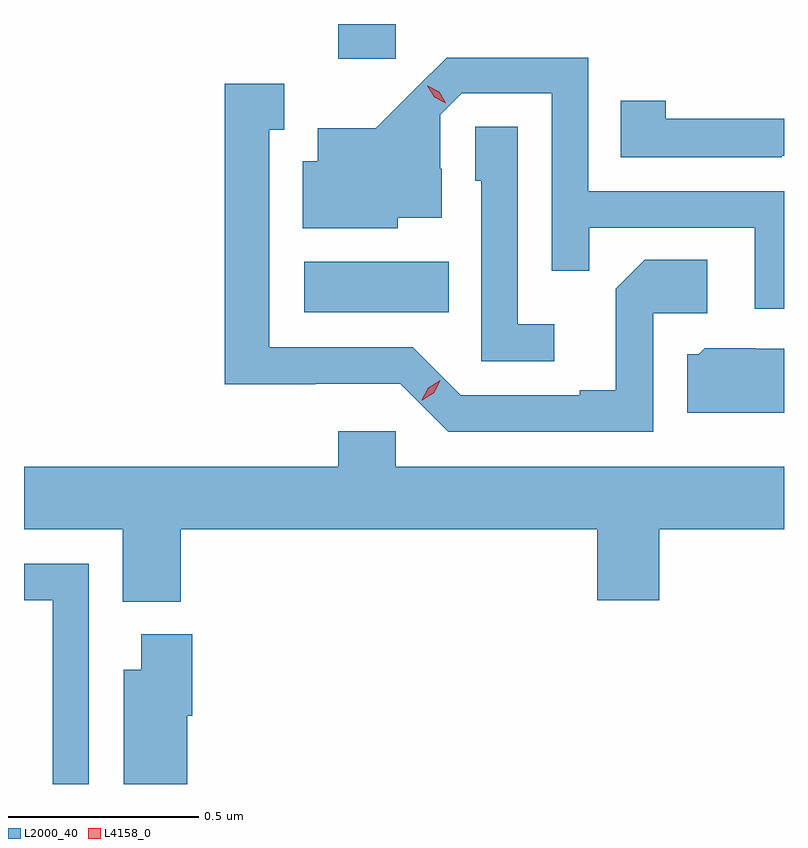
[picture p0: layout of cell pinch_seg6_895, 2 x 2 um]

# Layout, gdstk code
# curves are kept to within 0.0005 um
import gdstk
lib = gdstk.Library(unit=1e-6, precision=1e-09)
def R(c, l, rs):  # rectangles x0, y0, x1, y1
    for r in rs: c.add(gdstk.rectangle(r[:2], r[2:], *l))
def P(c, l, *ps):  # polygons
    for p in ps: c.add(gdstk.Polygon(p, *l))
L2000_40 = (2000, 40)
L4158_0 = (4158, 0)

pinch_seg6_895 = lib.new_cell('pinch_seg6_895')
R(pinch_seg6_895, L2000_40, [(140.262,982.538,140.642,982.672), (140.351,983.205,140.502,983.297)])
P(pinch_seg6_895, L2000_40, [(141.524,982.857),(141.009,982.857),(141.009,983.208),(140.636,983.208),(140.449,983.023),(140.297,983.023),(140.297,982.936),(140.258,982.936),(140.258,982.76),(140.508,982.76),(140.508,982.787),(140.623,982.787),(140.623,982.916),(140.619,982.916),(140.619,983.058),(140.676,983.115),(140.913,983.115),(140.913,982.648),(141.011,982.648),(141.011,982.761),(141.447,982.761),(141.447,982.548),(141.524,982.548)],
  [(141.18,982.536),(141.322,982.536),(141.322,982.676),(141.157,982.676),(141.081,982.6),(141.081,982.333),(140.987,982.333),(140.987,982.32),(140.673,982.32),(140.547,982.446),(140.17,982.446),(140.17,983.019),(140.209,983.019),(140.209,983.14),(140.052,983.14),(140.052,982.349),(140.292,982.349),(140.292,982.35),(140.514,982.35),(140.64,982.224),(141.18,982.224)],
  [(141.518,982.95),(141.524,982.95),(141.524,983.048),(141.213,983.048),(141.213,983.095),(141.094,983.095),(141.094,982.947),(141.518,982.947)],
  [(140.92,982.507),(140.823,982.507),(140.823,983.027),(140.712,983.027),(140.712,982.884),(140.727,982.884),(140.727,982.41),(140.92,982.41)],
  [(141.524,982.443),(141.45,982.443),(141.45,982.444),(141.316,982.444),(141.3,982.428),(141.269,982.428),(141.269,982.274),(141.524,982.274)],
  [(139.937,981.968),(141.032,981.968),(141.032,981.78),(141.196,981.78),(141.196,981.968),(141.524,981.968),(141.524,982.132),(140.502,982.132),(140.502,982.225),(140.351,982.225),(140.351,982.132),(139.524,982.132),(139.524,981.968),(139.784,981.968),(139.784,981.776),(139.937,981.776)],
  [(139.695,981.876),(139.524,981.876),(139.524,981.78),(139.599,981.78),(139.599,981.297),(139.695,981.297)],
  [(139.954,981.477),(139.967,981.477),(139.967,981.691),(139.832,981.691),(139.832,981.598),(139.787,981.598),(139.787,981.297),(139.954,981.297)])
P(pinch_seg6_895, L4158_0, [(140.634,983.089),(140.603,983.104),(140.585,983.134),(140.585,983.134),(140.586,983.134),(140.617,983.119),(140.634,983.09),(140.634,983.089)],
  [(140.571,982.307),(140.571,982.308),(140.588,982.34),(140.62,982.359),(140.62,982.359),(140.62,982.359),(140.603,982.326),(140.572,982.307)])

lib.write_gds('pinch_seg6_895.gds')
